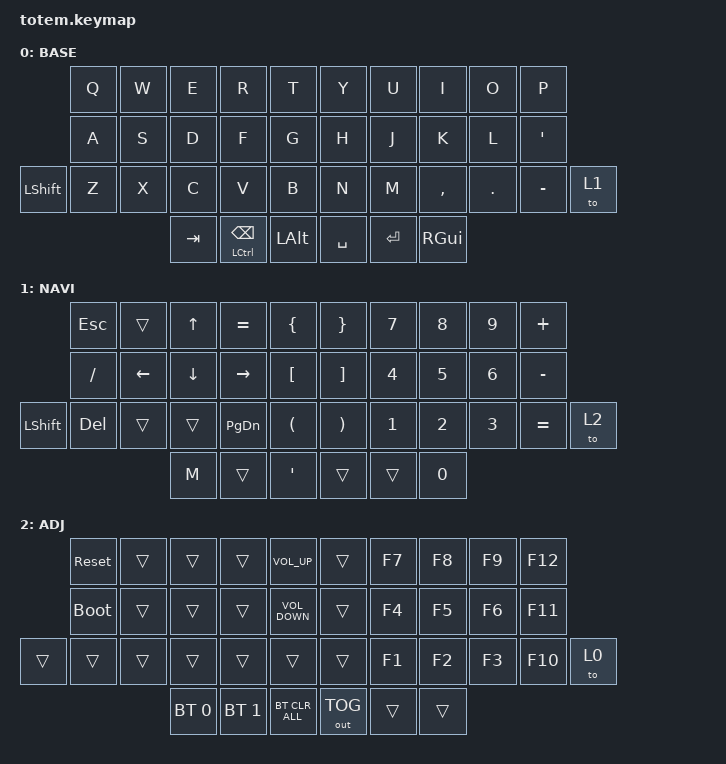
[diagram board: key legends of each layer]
//
//                                                        ▀▀▀▀▀     ▀▀▀▀▀          ▀▀█▀▀
//                                                        ▄▀▀▀▄  ▄  ▄▀▀▀▄  ▄  ▄▀▀▀▄  █  ▄▀▀▀▄
//                                                        █   █  █  █   █  █  █   █  █  █   █
//                                                         ▀▀▀   █   ▀▀▀   █   ▀▀▀   ▀   ▀▀▀
//                                                               █      ▄▄▄█▄▄▄    █   █  
//                                                               ▀      █  █  █     █▄█
//                                                             ▀▀▀▀▀    █  █  █      ▀
//                                                                      ▀  ▀  ▀
//
// ▄▄▄▄▄▄▄▄▄▄▄▄▄▄▄▄▄▄▄▄▄▄▄▄▄▄▄▄▄▄▄▄▄▄▄▄▄▄▄▄▄▄▄▄▄▄▄▄▄▄▄▄▄▄▄▄▄▄▄▄▄▄▄▄▄▄▄▄▄▄▄▄▄▄▄▄▄▄▄▄▄▄▄▄▄▄▄▄▄▄▄▄▄▄▄▄▄▄▄▄▄▄▄▄▄▄▄▄▄▄▄▄▄▄▄▄▄▄▄▄▄▄▄▄▄▄▄▄▄▄▄▄▄▄▄▄▄▄▄▄▄▄▄▄▄▄▄▄▄

#include <behaviors.dtsi>
#include <dt-bindings/zmk/bt.h>
#include <dt-bindings/zmk/keys.h>
#include <dt-bindings/zmk/outputs.h>

#define BASE 0
#define NAV  1
#define SYM  2
#define ADJ  3
#define TVP1 4
#define TVP2 5

&mt {
    quick-tap-ms = <100>;
    global-quick-tap;
    flavor = "tap-preferred";
    tapping-term-ms = <170>;
};

/ {
    combos {
        compatible = "zmk,combos";

        combo_esc {
            timeout-ms = <50>;
            key-positions = <12 11>;
            bindings = <&kp ESC>;
        };

        Layer2 {
            bindings = <&mo 1>;
            key-positions = <2 1>;
            slow-release;
        };

        Space {
            bindings = <&kp SPACE>;
            key-positions = <25 24>;
        };

        Enter {
            bindings = <&kp ENTER>;
            key-positions = <14 13>;
        };

        Slash {
            bindings = <&kp KP_SLASH>;
            key-positions = <20 30>;
        };

        QuestionMark {
            bindings = <&kp QUESTION>;
            key-positions = <20 29>;
        };

        SemiColons {
            bindings = <&kp COLON>;
            key-positions = <20 18>;
        };

        Exclamation {
            bindings = <&kp EXCL>;
            key-positions = <20 27>;
        };

        LBracket {
            bindings = <&kp LEFT_PARENTHESIS>;
            key-positions = <20 16>;
        };

        caps {
            bindings = <&kp CAPS>;
            key-positions = <20 32>;
        };

        Layer2Arrow {
            bindings = <&mo 1>;
            key-positions = <17 18>;
        };

        RBracket {
            bindings = <&kp RPAR>;
            key-positions = <20 17>;
        };

        Delete {
            bindings = <&kp DELETE>;
            key-positions = <33 0>;
        };
    };

    keymap {
        compatible = "zmk,keymap";

        // ▄▄▄▄▄▄▄▄▄▄▄▄▄▄▄▄▄▄▄▄▄▄▄▄▄▄▄▄▄▄▄▄▄▄▄▄▄▄▄▄▄▄▄▄▄▄▄▄▄▄▄▄▄▄▄▄▄▄▄▄▄▄▄▄▄▄▄▄▄▄▄▄▄▄▄▄▄▄▄▄▄▄▄▄▄▄▄▄▄▄▄▄▄▄▄▄▄▄▄▄▄▄▄▄▄▄▄▄▄▄▄▄▄▄▄▄▄▄▄▄▄▄▄▄▄▄▄▄▄▄▄▄▄▄▄▄▄▄▄▄▄▄▄▄▄▄▄▄▄

        base_layer {
            // ┏━━━━━━━━━━━━━━━━━━━━━━━━━━━━━━━━━━━━━━━┓

            label = "BASE";

            // ┗━━━━━━━━━━━━━━━━━━━━━━━━━━━━━━━━━━━━━━━┛
            //             ┏━━━━━━━━━━━┳━━━━━━━━━━━┳━━━━━━━━━━━┳━━━━━━━━━━━┳━━━━━━━━━━━┓   ┏━━━━━━━━━━━┳━━━━━━━━━━━┳━━━━━━━━━━━┳━━━━━━━━━━━┳━━━━━━━━━━━┓
            //             ┃     Q     ┃     W     ┃     F     ┃     P     ┃     G     ┃   ┃     J     ┃     L     ┃     U     ┃     Y     ┃     ;     ┃
            //             ┣━━━━━━━━━━━╋━━━━━━━━━━━╋━━━━━━━━━━━╋━━━━━━━━━━━╋━━━━━━━━━━━┫   ┣━━━━━━━━━━━╋━━━━━━━━━━━╋━━━━━━━━━━━╋━━━━━━━━━━━╋━━━━━━━━━━━┫
            //             ┃     A     ┃     R     ┃     S     ┃     T     ┃     D     ┃   ┃     H     ┃     N     ┃     E     ┃     I     ┃     O     ┃
            // ┏━━━━━━━━━━━╋━━━━━━━━━━━╋━━━━━━━━━━━╋━━━━━━━━━━━╋━━━━━━━━━━━╋━━━━━━━━━━━┫   ┣━━━━━━━━━━━╋━━━━━━━━━━━╋━━━━━━━━━━━╋━━━━━━━━━━━╋━━━━━━━━━━━╋━━━━━━━━━━━┓
            // ┃     Q     ┃     Z     ┃     X     ┃     C     ┃     V     ┃     B     ┃   ┃     K     ┃     M     ┃     ,     ┃     .     ┃     /     ┃     \     ┃
            // ┗━━━━━━━━━━━┻━━━━━━━━━━━┻━━━━━━━━━━━╋━━━━━━━━━━━╋━━━━━━━━━━━╋━━━━━━━━━━━┫   ┣━━━━━━━━━━━╋━━━━━━━━━━━╋━━━━━━━━━━━╋━━━━━━━━━━━┻━━━━━━━━━━━┻━━━━━━━━━━━┛
            //                                     ┃    DEL    ┃    TAB    ┃    SPC    ┃   ┃   ENTER   ┃           ┃   BSPC    ┃
            //                                     ┗━━━━━━━━━━━┻━━━━━━━━━━━┻━━━━━━━━━━━┛   ┗━━━━━━━━━━━┻━━━━━━━━━━━┻━━━━━━━━━━━┛

            bindings = <
                &kp Q  &kp W  &kp E    &kp R                       &kp T           &kp Y      &kp U      &kp I          &kp O    &kp P
                &kp A  &kp S  &kp D    &kp F                       &kp G           &kp H      &kp J      &kp K          &kp L    &kp SQT
&kp LEFT_SHIFT  &kp Z  &kp X  &kp C    &kp V                       &kp B           &kp N      &kp M      &kp COMMA      &kp DOT  &kp MINUS  &to 1
                              &kp TAB  &mt LEFT_CONTROL BACKSPACE  &kp LEFT_ALT    &kp SPACE  &kp ENTER  &kp RIGHT_GUI
            >;
        };

        // ▄▄▄▄▄▄▄▄▄▄▄▄▄▄▄▄▄▄▄▄▄▄▄▄▄▄▄▄▄▄▄▄▄▄▄▄▄▄▄▄▄▄▄▄▄▄▄▄▄▄▄▄▄▄▄▄▄▄▄▄▄▄▄▄▄▄▄▄▄▄▄▄▄▄▄▄▄▄▄▄▄▄▄▄▄▄▄▄▄▄▄▄▄▄▄▄▄▄▄▄▄▄▄▄▄▄▄▄▄▄▄▄▄▄▄▄▄▄▄▄▄▄▄▄▄▄▄▄▄▄▄▄▄▄▄▄▄▄▄▄▄▄▄▄▄▄▄▄▄

        nav_layer {
            // ┏━━━━━━━━━━━━━━━━━━━━━━━━━━━━━━━━━━━━━━━┓

            label = "NAVI";

            // ┗━━━━━━━━━━━━━━━━━━━━━━━━━━━━━━━━━━━━━━━┛
            //             ┏━━━━━━━━━━━┳━━━━━━━━━━━┳━━━━━━━━━━━┳━━━━━━━━━━━┳━━━━━━━━━━━┓   ┏━━━━━━━━━━━┳━━━━━━━━━━━┳━━━━━━━━━━━┳━━━━━━━━━━━┳━━━━━━━━━━━┓
            //             ┃           ┃           ┃     UP    ┃           ┃     {     ┃   ┃     }     ┃     7     ┃     8     ┃     9     ┃     +     ┃
            //             ┣━━━━━━━━━━━╋━━━━━━━━━━━╋━━━━━━━━━━━╋━━━━━━━━━━━╋━━━━━━━━━━━┫   ┣━━━━━━━━━━━╋━━━━━━━━━━━╋━━━━━━━━━━━╋━━━━━━━━━━━╋━━━━━━━━━━━┫
            //             ┃   SHIFT   ┃   LEFT    ┃    DOWN   ┃   RIGHT   ┃     [     ┃   ┃     ]     ┃     4     ┃     5     ┃     6     ┃     -     ┃
            // ┏━━━━━━━━━━━╋━━━━━━━━━━━╋━━━━━━━━━━━╋━━━━━━━━━━━╋━━━━━━━━━━━╋━━━━━━━━━━━┫   ┣━━━━━━━━━━━╋━━━━━━━━━━━╋━━━━━━━━━━━╋━━━━━━━━━━━╋━━━━━━━━━━━╋━━━━━━━━━━━┓
            // ┃           ┃           ┃   P UP    ┃  C LOCK   ┃  P DOWN   ┃     (     ┃   ┃     )     ┃     1     ┃     2     ┃     3     ┃     *     ┃           ┃
            // ┗━━━━━━━━━━━┻━━━━━━━━━━━┻━━━━━━━━━━━╋━━━━━━━━━━━╋━━━━━━━━━━━╋━━━━━━━━━━━┫   ┣━━━━━━━━━━━╋━━━━━━━━━━━╋━━━━━━━━━━━╋━━━━━━━━━━━┻━━━━━━━━━━━┻━━━━━━━━━━━┛
            //                                     ┃           ┃    TAB    ┃    SPC    ┃   ┃    DEL    ┃     0     ┃           ┃
            //                                     ┗━━━━━━━━━━━┻━━━━━━━━━━━┻━━━━━━━━━━━┛   ┗━━━━━━━━━━━┻━━━━━━━━━━━┻━━━━━━━━━━━┛

            bindings = <
                &kp ESC    &trans    &kp UP    &kp EQUAL  &kp LBRC          &kp RBRC  &kp N7        &kp N8        &kp N9        &kp PLUS
                &kp SLASH  &kp LEFT  &kp DOWN  &kp RIGHT  &kp LBKT          &kp RBKT  &kp NUMBER_4  &kp N5        &kp NUMBER_6  &kp MINUS
&kp LEFT_SHIFT  &kp DEL    &trans    &trans    &kp PG_DN  &kp LPAR          &kp RPAR  &kp NUMBER_1  &kp NUMBER_2  &kp NUMBER_3  &kp EQUAL  &to 2
                                     &kp M     &trans     &kp APOSTROPHE    &trans    &trans        &kp N0
            >;
        };

        // ▄▄▄▄▄▄▄▄▄▄▄▄▄▄▄▄▄▄▄▄▄▄▄▄▄▄▄▄▄▄▄▄▄▄▄▄▄▄▄▄▄▄▄▄▄▄▄▄▄▄▄▄▄▄▄▄▄▄▄▄▄▄▄▄▄▄▄▄▄▄▄▄▄▄▄▄▄▄▄▄▄▄▄▄▄▄▄▄▄▄▄▄▄▄▄▄▄▄▄▄▄▄▄▄▄▄▄▄▄▄▄▄▄▄▄▄▄▄▄▄▄▄▄▄▄▄▄▄▄▄▄▄▄▄▄▄▄▄▄▄▄▄▄▄▄▄▄▄▄
        // ▄▄▄▄▄▄▄▄▄▄▄▄▄▄▄▄▄▄▄▄▄▄▄▄▄▄▄▄▄▄▄▄▄▄▄▄▄▄▄▄▄▄▄▄▄▄▄▄▄▄▄▄▄▄▄▄▄▄▄▄▄▄▄▄▄▄▄▄▄▄▄▄▄▄▄▄▄▄▄▄▄▄▄▄▄▄▄▄▄▄▄▄▄▄▄▄▄▄▄▄▄▄▄▄▄▄▄▄▄▄▄▄▄▄▄▄▄▄▄▄▄▄▄▄▄▄▄▄▄▄▄▄▄▄▄▄▄▄▄▄▄▄▄▄▄▄▄▄▄

        adjust_layer {
            // ┏━━━━━━━━━━━━━━━━━━━━━━━━━━━━━━━━━━━━━━━┓

            label = "ADJ";

            // ┗━━━━━━━━━━━━━━━━━━━━━━━━━━━━━━━━━━━━━━━┛
            //             ┏━━━━━━━━━━━┳━━━━━━━━━━━┳━━━━━━━━━━━┳━━━━━━━━━━━┳━━━━━━━━━━━┓   ┏━━━━━━━━━━━┳━━━━━━━━━━━┳━━━━━━━━━━━┳━━━━━━━━━━━┳━━━━━━━━━━━┓
            //             ┃   RESET   ┃ BT CLEAR  ┃  OUT TOG  ┃           ┃           ┃   ┃           ┃    F7     ┃    F8     ┃    F9     ┃    F12    ┃
            //             ┣━━━━━━━━━━━╋━━━━━━━━━━━╋━━━━━━━━━━━╋━━━━━━━━━━━╋━━━━━━━━━━━┫   ┣━━━━━━━━━━━╋━━━━━━━━━━━╋━━━━━━━━━━━╋━━━━━━━━━━━╋━━━━━━━━━━━┫
            //             ┃ BOOTLOAD  ┃ BT NEXT   ┃           ┃           ┃           ┃   ┃           ┃    F4     ┃    F5     ┃    F6     ┃    F11    ┃
            // ┏━━━━━━━━━━━╋━━━━━━━━━━━╋━━━━━━━━━━━╋━━━━━━━━━━━╋━━━━━━━━━━━╋━━━━━━━━━━━┫   ┣━━━━━━━━━━━╋━━━━━━━━━━━╋━━━━━━━━━━━╋━━━━━━━━━━━╋━━━━━━━━━━━╋━━━━━━━━━━━┓
            // ┃           ┃           ┃ BT PREV   ┃           ┃           ┃           ┃   ┃           ┃    F1     ┃    F2     ┃    F3     ┃    F10    ┃           ┃
            // ┗━━━━━━━━━━━┻━━━━━━━━━━━┻━━━━━━━━━━━╋━━━━━━━━━━━╋━━━━━━━━━━━╋━━━━━━━━━━━┫   ┣━━━━━━━━━━━╋━━━━━━━━━━━╋━━━━━━━━━━━╋━━━━━━━━━━━┻━━━━━━━━━━━┻━━━━━━━━━━━┛
            //                                     ┃           ┃           ┃           ┃   ┃           ┃           ┃           ┃
            //                                     ┗━━━━━━━━━━━┻━━━━━━━━━━━┻━━━━━━━━━━━┛   ┗━━━━━━━━━━━┻━━━━━━━━━━━┻━━━━━━━━━━━┛

            bindings = <
        &sys_reset   &trans  &trans        &trans        &kp C_VOLUME_UP      &trans        &kp F7  &kp F8  &kp F9  &kp F12
        &bootloader  &trans  &trans        &trans        &kp C_VOLUME_DOWN    &trans        &kp F4  &kp F5  &kp F6  &kp F11
&trans  &trans       &trans  &trans        &trans        &trans               &trans        &kp F1  &kp F2  &kp F3  &kp F10  &to 0
                             &bt BT_SEL 0  &bt BT_SEL 1  &bt BT_CLR_ALL       &out OUT_TOG  &trans  &trans
            >;
        };

        // ▄▄▄▄▄▄▄▄▄▄▄▄▄▄▄▄▄▄▄▄▄▄▄▄▄▄▄▄▄▄▄▄▄▄▄▄▄▄▄▄▄▄▄▄▄▄▄▄▄▄▄▄▄▄▄▄▄▄▄▄▄▄▄▄▄▄▄▄▄▄▄▄▄▄▄▄▄▄▄▄▄▄▄▄▄▄▄▄▄▄▄▄▄▄▄▄▄▄▄▄▄▄▄▄▄▄▄▄▄▄▄▄▄▄▄▄▄▄▄▄▄▄▄▄▄▄▄▄▄▄▄▄▄▄▄▄▄▄▄▄▄▄▄▄▄▄▄▄▄
        // ▄▄▄▄▄▄▄▄▄▄▄▄▄▄▄▄▄▄▄▄▄▄▄▄▄▄▄▄▄▄▄▄▄▄▄▄▄▄▄▄▄▄▄▄▄▄▄▄▄▄▄▄▄▄▄▄▄▄▄▄▄▄▄▄▄▄▄▄▄▄▄▄▄▄▄▄▄▄▄▄▄▄▄▄▄▄▄▄▄▄▄▄▄▄▄▄▄▄▄▄▄▄▄▄▄▄▄▄▄▄▄▄▄▄▄▄▄▄▄▄▄▄▄▄▄▄▄▄▄▄▄▄▄▄▄▄▄▄▄▄▄▄▄▄▄▄▄▄▄
    };
};
